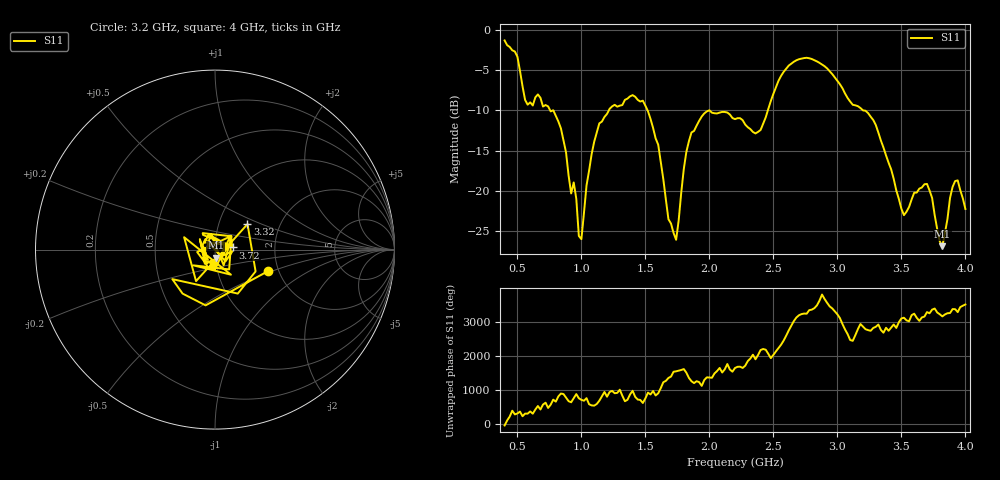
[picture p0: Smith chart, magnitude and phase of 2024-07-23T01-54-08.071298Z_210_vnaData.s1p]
!Created with skrf (http://scikit-rf.org).
# Hz S RI R 50.0
!freq ReS11 ImS11
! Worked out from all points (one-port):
!   181 points, 400 MHz to 4 GHz, reference 50 ohm
!   lowest |S11| = -27.0 dB at 3.82 GHz (marker M1), VSWR 1.09, Z = 50.3 - j4.5 ohm
!   |S11| at or under -10 dB: 1.517 GHz to 1.996 GHz (478.7 MHz wide, 27.3 % of centre); 2.002 GHz to 2.456 GHz (454.6 MHz wide, 20.4 % of centre); 3.207 GHz to end of sweep (the widest 3 of 5)
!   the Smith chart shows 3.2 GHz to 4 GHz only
!   S11 on the Smith chart (normalised r, x): 3.2 GHz: 1.75, -0.47; 3.32 GHz: 1.37, +0.41; 3.72 GHz: 1.22, +0.03; 4 GHz: 0.97, -0.15
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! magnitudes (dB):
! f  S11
! 400 MHz  -1.2
! 500 MHz  -3.3
! 580 MHz  -9.3
! 660 MHz  -8.0
! 860 MHz  -13.7
! 1 GHz  -26.1
! 1.04 GHz  -19.4
! 1.14 GHz  -11.6
! 1.3 GHz  -9.4
! 1.48 GHz  -8.8
! 1.6 GHz  -14.3
! 1.68 GHz  -23.6
! 1.74 GHz  -26.2
! 1.76 GHz  -23.7
! 1.86 GHz  -12.7
! 2.2 GHz  -11.1
! 2.4 GHz  -12.4
! 2.66 GHz  -3.9
! 2.9 GHz  -4.5
! 3.1 GHz  -8.9
! 3.2 GHz  -10.0
! 3.32 GHz  -12.8
! 3.52 GHz  -23.1
! 3.56 GHz  -22.1
! 3.72 GHz  -20.0
! 3.82 GHz  -27.0
! 3.92 GHz  -18.8
! 4 GHz  -22.3
